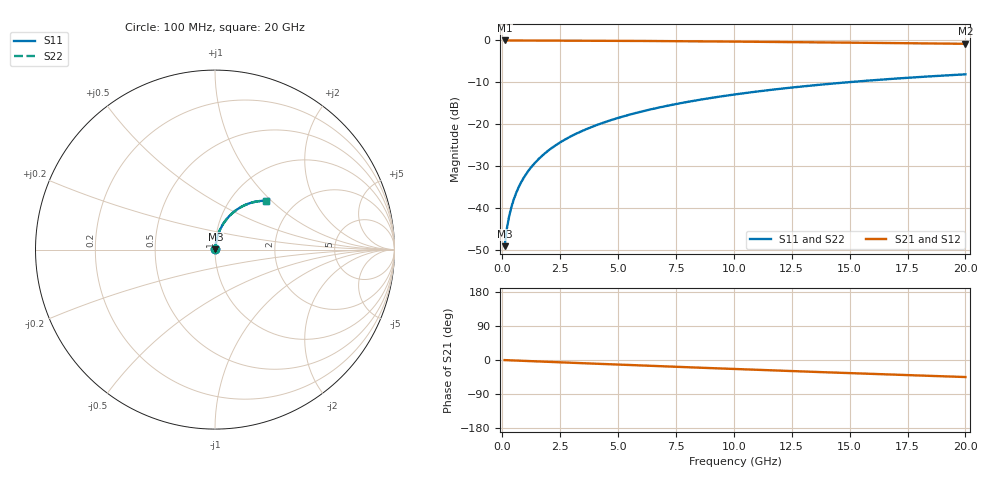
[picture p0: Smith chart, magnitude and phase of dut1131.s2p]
! Touchstone file exported from HFSS 2026.1.0
!  File:  C:/ffzhzh/LocalFiles/Ansys_Project_Files/temp_train_BSMRDL_1131_1783175298_43440.aedt
!  Generated:  10:29:35 PM Jul  4, 2026
!  Design:  BSMRDL
!  Project:  temp_train_BSMRDL_1131_1783175298_43440
! Variables:
!  h_bsmrdl = 4.01um
!  h_ox = 20um
!  h_rdl = 5um
!  h_sub = 80um
!  h_tmrdl = 5um
!  h_tsv = 80um
!  h_via = 3um
!  l_bsmrdl = 659.05um
!  l_sub = 1059.05um
!  l_tmrdl = 200um
!  m_sub = 200um
!  pitch = 59.97um
!  r_tsv = 6um
!  s_tmrdl = 10um
!  w_bsmrdl = 28.84um
!  w_sub = 500um
!  w_tmrdl = 12um
!  x_tsv_center1 = 206um
!  x_tsv_center2 = 893.89um
!  x_tsv_center3 = 1105.89um
!  x_tsv_center4 = 1793.78um
!  x_tsv_center5 = 2005.78um
!  x_tsv_center6 = 2693.67um
# GHz S MA R 50.000000
! Terminal data exported
! Port[1] = BSM_RDL1_1_T1
! Port[2] = BSM_RDL1_1_T2
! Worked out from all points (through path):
!   200 points, 100 MHz to 20 GHz, reference 50 ohm
!   highest |S21| = -0.02 dB at 100 MHz (marker M1); lowest = -0.8 dB at 20 GHz (marker M2)
!   group delay of S21, straight-line fit = 6.25 ps
!   lowest |S11| = -49.1 dB at 100 MHz (marker M3), VSWR 1.01, Z = 50.2 + j0.268 ohm
!   |S11| at or under -10 dB: start of sweep to 14.91 GHz
!   |S22| runs from -49.1 to -8.1 dB; largest |S21 - S12| = 2e-15
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0.1  0.0035 49.5  0.9977 -0.3  0.9977 -0.3  0.0035 49.5
! Gamma 0 0 0 0
! Port Impedance 50 0 50 0
0.2  0.00575 64.5  0.9976 -0.5  0.9976 -0.5  0.00575 64.5
0.3  0.008073 70.6  0.9974 -0.8  0.9974 -0.8  0.008073 70.6
0.4  0.01041 74.1  0.9973 -1.0  0.9973 -1.0  0.01041 74.1
0.5  0.01276 76.3  0.9972 -1.2  0.9972 -1.2  0.01276 76.3
0.7  0.0175 79.0  0.997 -1.7  0.997 -1.7  0.0175 79.0
0.8  0.01989 79.7  0.9969 -2.0  0.9969 -2.0  0.01989 79.7
1  0.02468 80.7  0.9968 -2.5  0.9968 -2.5  0.02468 80.7
1.2  0.02949 81.2  0.9966 -2.9  0.9966 -2.9  0.02949 81.2
1.4  0.03429 81.4  0.9963 -3.4  0.9963 -3.4  0.03429 81.4
1.7  0.0415 81.4  0.9959 -4.2  0.9959 -4.2  0.0415 81.4
2  0.04868 81.2  0.9955 -4.9  0.9955 -4.9  0.04868 81.2
2.7  0.06535 80.2  0.9942 -6.6  0.9942 -6.6  0.06535 80.2
3.5  0.08417 78.7  0.9923 -8.5  0.9923 -8.5  0.08417 78.7
4.2  0.1004 77.2  0.9904 -10.2  0.9904 -10.2  0.1004 77.2
5  0.1187 75.5  0.9879 -12.1  0.9879 -12.1  0.1187 75.5
6.8  0.1587 71.5  0.9813 -16.3  0.9813 -16.3  0.1587 71.5
8.3  0.1907 68.2  0.9749 -19.8  0.9749 -19.8  0.1907 68.2
10.1  0.2275 64.2  0.9663 -23.9  0.9663 -23.9  0.2275 64.2
13.4  0.29 57.2  0.9486 -31.2  0.9486 -31.2  0.29 57.2
16.7  0.3454 50.3  0.9295 -38.2  0.9295 -38.2  0.3453 50.3
20  0.3933 43.7  0.9101 -44.9  0.9101 -44.9  0.3933 43.7
